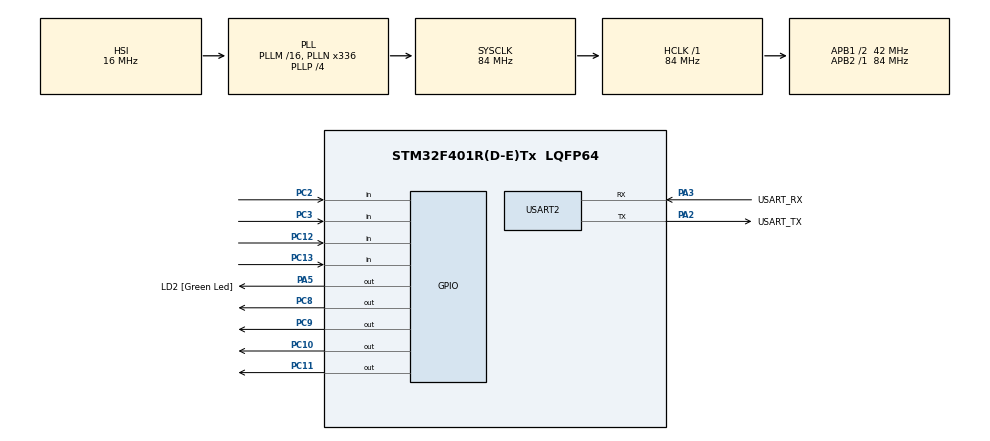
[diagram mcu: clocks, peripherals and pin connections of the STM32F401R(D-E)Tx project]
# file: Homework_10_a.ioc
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Dma.Request0=USART2_TX
Dma.USART2_TX.0.Direction=DMA_MEMORY_TO_PERIPH
Dma.USART2_TX.0.FIFOMode=DMA_FIFOMODE_DISABLE
Dma.USART2_TX.0.Instance=DMA1_Stream6
Dma.USART2_TX.0.MemDataAlignment=DMA_MDATAALIGN_BYTE
Dma.USART2_TX.0.MemInc=DMA_MINC_ENABLE
Dma.USART2_TX.0.Mode=DMA_NORMAL
Dma.USART2_TX.0.PeriphDataAlignment=DMA_PDATAALIGN_BYTE
Dma.USART2_TX.0.PeriphInc=DMA_PINC_DISABLE
Dma.USART2_TX.0.Priority=DMA_PRIORITY_LOW
Mcu.Family=STM32F4
Mcu.Name=STM32F401R(D-E)Tx
Mcu.Package=LQFP64
NVIC.DMA1_Stream6_IRQn=true\:0\:0\:false\:false\:true\:false\:true\:true
NVIC.PriorityGroup=NVIC_PRIORITYGROUP_0
NVIC.TIM3_IRQn=true\:0\:0\:false\:false\:true\:true\:true\:true
NVIC.USART2_IRQn=true\:0\:0\:false\:false\:true\:true\:true\:true
PA13.GPIO_Label=TMS
PA13.Mode=Serial_Wire
PA13.Signal=SYS_JTMS-SWDIO
PA14.GPIO_Label=TCK
PA14.Mode=Serial_Wire
PA14.Signal=SYS_JTCK-SWCLK
PA2.GPIO_Label=USART_TX
PA2.GPIO_Mode=GPIO_MODE_AF_PP
PA2.GPIO_PuPd=GPIO_NOPULL
PA2.GPIO_Speed=GPIO_SPEED_FREQ_LOW
PA2.Mode=Asynchronous
PA2.Signal=USART2_TX
PA3.GPIO_Label=USART_RX
PA3.GPIO_Mode=GPIO_MODE_AF_PP
PA3.GPIO_PuPd=GPIO_NOPULL
PA3.GPIO_Speed=GPIO_SPEED_FREQ_LOW
PA3.Mode=Asynchronous
PA3.Signal=USART2_RX
PA5.GPIO_Label=LD2 [Green Led]
PA5.GPIO_Mode=GPIO_MODE_OUTPUT_PP
PA5.GPIO_PuPd=GPIO_NOPULL
PA5.GPIO_Speed=GPIO_SPEED_FREQ_LOW
PA5.Signal=GPIO_Output
PB3.GPIO_Label=SWO
PB3.Signal=SYS_JTDO-SWO
PC10.Signal=GPIO_Output
PC11.Signal=GPIO_Output
PC12.Signal=GPIO_Input
PC13-ANTI_TAMP.Signal=GPIO_Input
PC14-OSC32_IN.Mode=LSE-External-Oscillator
PC14-OSC32_IN.Signal=RCC_OSC32_IN
PC15-OSC32_OUT.Mode=LSE-External-Oscillator
PC15-OSC32_OUT.Signal=RCC_OSC32_OUT
PC2.Signal=GPIO_Input
PC3.Signal=GPIO_Input
PC8.Signal=GPIO_Output
PC9.Signal=GPIO_Output
PH0\ -\ OSC_IN.Mode=HSE-External-Clock-Source
PH0\ -\ OSC_IN.Signal=RCC_OSC_IN
PH1\ -\ OSC_OUT.Mode=HSE-External-Clock-Source
PH1\ -\ OSC_OUT.Signal=RCC_OSC_OUT
ProjectManager.HeapSize=0x200
ProjectManager.StackSize=0x400
ProjectManager.TargetToolchain=STM32CubeIDE
RCC.48MHZClocksFreq_Value=48000000
RCC.AHBFreq_Value=84000000
RCC.APB1CLKDivider=RCC_HCLK_DIV2
RCC.APB1Freq_Value=42000000
RCC.APB1TimFreq_Value=84000000
RCC.APB2Freq_Value=84000000
RCC.APB2TimFreq_Value=84000000
RCC.CortexFreq_Value=84000000
RCC.HCLKFreq_Value=84000000
RCC.HSE_VALUE=8000000
RCC.HSI_VALUE=16000000
RCC.PLLN=336
RCC.PLLP=RCC_PLLP_DIV4
RCC.PLLQ=7
RCC.SYSCLKFreq_VALUE=84000000
RCC.SYSCLKSource=RCC_SYSCLKSOURCE_PLLCLK
RCC.VCOOutputFreq_Value=336000000
TIM3.Period=9
TIM3.Prescaler=9
TIM3.TIM_MasterOutputTrigger=TIM_TRGO_UPDATE
USART2.VirtualMode=VM_ASYNC
VP_TIM3_VS_ClockSourceINT.Mode=Internal
board=NUCLEO-F401RE

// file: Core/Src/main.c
/* USER CODE BEGIN Header */
/**
  ******************************************************************************
  * @file           : main.c
  * @brief          : Main program body
  ******************************************************************************
  * @attention
  *
  * Copyright (c) 2024 STMicroelectronics.
  * All rights reserved.
  *
  * This software is licensed under terms that can be found in the LICENSE file
  * in the root directory of this software component.
  * If no LICENSE file comes with this software, it is provided AS-IS.
  *
  ******************************************************************************
  */
/* USER CODE END Header */
#include "main.h"

/* USER CODE BEGIN PD */
#define COLUMNS_NUMBER 4
#define ROWS_NUMBER 4
#define KBOARD_DEBOUNCE_CYCLES 1 // it's 16ms per reading per each unit, one or two should be enough
#define GREEN_LED_PIN GPIOA, GPIO_PIN_5
/* USER CODE END PD */

TIM_HandleTypeDef htim3;

UART_HandleTypeDef huart2;
DMA_HandleTypeDef hdma_usart2_tx;

void SystemClock_Config(void);
static void MX_GPIO_Init(void);
static void MX_DMA_Init(void);
static void MX_USART2_UART_Init(void);
static void MX_TIM3_Init(void);

/* USER CODE BEGIN 0 */

// Columns PINS
const GPIO_TypeDef* columns_bank[COLUMNS_NUMBER] = {GPIOC, GPIOC, GPIOC, GPIOC};
const uint16_t columns_pin[COLUMNS_NUMBER] = {GPIO_PIN_9, GPIO_PIN_10, GPIO_PIN_11, GPIO_PIN_8};

// Rows PINS
const GPIO_TypeDef* rows_bank[ROWS_NUMBER] = {GPIOC, GPIOC, GPIOC, GPIOC};
const uint16_t rows_pin[ROWS_NUMBER]      = {GPIO_PIN_12, GPIO_PIN_13, GPIO_PIN_2, GPIO_PIN_3};

GPIO_PinState keyboard[COLUMNS_NUMBER * ROWS_NUMBER] = {0};
GPIO_PinState keyboard_old[COLUMNS_NUMBER * ROWS_NUMBER] = {0};
int keyboard_debounce[COLUMNS_NUMBER * ROWS_NUMBER];
static const char keymap[] = "0123456789ABCDEF";

/**
 * @brief Read keyboard key pressed and send the equivalent value to the UART terminal
 */
void KeyboardReading (void)
{
	static uint8_t col_index = 0;

	// For every rows
	for(int row_index = 0; row_index < ROWS_NUMBER; row_index++)
	{
		// If debounce period is over
		if(keyboard_debounce[row_index*COLUMNS_NUMBER+col_index] == 0)
		{
			keyboard[row_index*COLUMNS_NUMBER+col_index] = HAL_GPIO_ReadPin((GPIO_TypeDef*)rows_bank[row_index], rows_pin[row_index]);
			// Comparation between the current key pressed and the old one
			if(keyboard[row_index*COLUMNS_NUMBER+col_index] != keyboard_old[row_index*COLUMNS_NUMBER+col_index])
			{
				// Check if the old key is not pressed
				if(keyboard_old[row_index*COLUMNS_NUMBER+col_index] == GPIO_PIN_SET)
				{
					HAL_UART_Transmit(&huart2,(uint8_t*) &keymap[row_index*COLUMNS_NUMBER+col_index], 1, 10); // map[row_index*COLUMNS_NUMBER+col_index]
					keyboard_debounce[row_index*COLUMNS_NUMBER+col_index] = KBOARD_DEBOUNCE_CYCLES; // reload debounce counter
				}
				// Set the old keybord key to the pressed one
				keyboard_old[row_index*COLUMNS_NUMBER+col_index] = keyboard[row_index*COLUMNS_NUMBER+col_index];
			}
		}

		// Reset debounce
		else
		{
			keyboard_debounce[row_index*COLUMNS_NUMBER+col_index] = GPIO_PIN_RESET;
		}
	}

	// This is done to maintain consistency with the "set" and "reset" defines
	for(int i = 0; i < COLUMNS_NUMBER; i++)
	{
		HAL_GPIO_WritePin((GPIO_TypeDef*)columns_bank[i], columns_pin[i], (col_index == i) ? GPIO_PIN_SET : GPIO_PIN_RESET);
	}

	// Work as a loop for the columns because the for loop is not the best in this case
	if(col_index >= COLUMNS_NUMBER-1)
	{
		col_index = 0;
	}
	else
	{
		col_index++;
	}
}

/**
 * @brief Timer Callback of 1ms
 */
void HAL_TIM_PeriodElapsedCallback(TIM_HandleTypeDef *htim)
{
  /** 1ms Timer **/
  if (htim->Instance == htim3.Instance)
  {
	  KeyboardReading();
  }
}

/* USER CODE END 0 */

int main(void)
{

  /* MCU Configuration--------------------------------------------------------*/

  /* Reset of all peripherals, Initializes the Flash interface and the Systick. */
  HAL_Init();

  /* Configure the system clock */
  SystemClock_Config();

  /* Initialize all configured peripherals */
  MX_GPIO_Init();
  MX_DMA_Init();
  MX_USART2_UART_Init();
  MX_TIM3_Init();
  /* USER CODE BEGIN 2 */

  /** Start the Timer (4ms) **/
  HAL_TIM_Base_Start_IT(&htim3);

  /* USER CODE END 2 */

  /* Infinite loop */
  while (1)
  {

  }
}

void SystemClock_Config(void)
{
  RCC_OscInitTypeDef RCC_OscInitStruct = {0};
  RCC_ClkInitTypeDef RCC_ClkInitStruct = {0};

  /** Configure the main internal regulator output voltage
  */
  __HAL_RCC_PWR_CLK_ENABLE();
  __HAL_PWR_VOLTAGESCALING_CONFIG(PWR_REGULATOR_VOLTAGE_SCALE2);

  /** Initializes the RCC Oscillators according to the specified parameters
  * in the RCC_OscInitTypeDef structure.
  */
  RCC_OscInitStruct.OscillatorType = RCC_OSCILLATORTYPE_HSI;
  RCC_OscInitStruct.HSIState = RCC_HSI_ON;
  RCC_OscInitStruct.HSICalibrationValue = RCC_HSICALIBRATION_DEFAULT;
  RCC_OscInitStruct.PLL.PLLState = RCC_PLL_ON;
  RCC_OscInitStruct.PLL.PLLSource = RCC_PLLSOURCE_HSI;
  RCC_OscInitStruct.PLL.PLLM = 16;
  RCC_OscInitStruct.PLL.PLLN = 336;
  RCC_OscInitStruct.PLL.PLLP = RCC_PLLP_DIV4;
  RCC_OscInitStruct.PLL.PLLQ = 7;
  if (HAL_RCC_OscConfig(&RCC_OscInitStruct) != HAL_OK)
  {
    Error_Handler();
  }

  /** Initializes the CPU, AHB and APB buses clocks
  */
  RCC_ClkInitStruct.ClockType = RCC_CLOCKTYPE_HCLK|RCC_CLOCKTYPE_SYSCLK
                              |RCC_CLOCKTYPE_PCLK1|RCC_CLOCKTYPE_PCLK2;
  RCC_ClkInitStruct.SYSCLKSource = RCC_SYSCLKSOURCE_PLLCLK;
  RCC_ClkInitStruct.AHBCLKDivider = RCC_SYSCLK_DIV1;
  RCC_ClkInitStruct.APB1CLKDivider = RCC_HCLK_DIV2;
  RCC_ClkInitStruct.APB2CLKDivider = RCC_HCLK_DIV1;

  if (HAL_RCC_ClockConfig(&RCC_ClkInitStruct, FLASH_LATENCY_2) != HAL_OK)
  {
    Error_Handler();
  }
}

static void MX_TIM3_Init(void)
{

  TIM_ClockConfigTypeDef sClockSourceConfig = {0};
  TIM_MasterConfigTypeDef sMasterConfig = {0};

  htim3.Instance = TIM3;
  htim3.Init.Prescaler = 8399;
  htim3.Init.CounterMode = TIM_COUNTERMODE_UP;
  htim3.Init.Period = 9;
  htim3.Init.ClockDivision = TIM_CLOCKDIVISION_DIV1;
  htim3.Init.AutoReloadPreload = TIM_AUTORELOAD_PRELOAD_DISABLE;
  if (HAL_TIM_Base_Init(&htim3) != HAL_OK)
  {
    Error_Handler();
  }
  sClockSourceConfig.ClockSource = TIM_CLOCKSOURCE_INTERNAL;
  if (HAL_TIM_ConfigClockSource(&htim3, &sClockSourceConfig) != HAL_OK)
  {
    Error_Handler();
  }
  sMasterConfig.MasterOutputTrigger = TIM_TRGO_UPDATE;
  sMasterConfig.MasterSlaveMode = TIM_MASTERSLAVEMODE_DISABLE;
  if (HAL_TIMEx_MasterConfigSynchronization(&htim3, &sMasterConfig) != HAL_OK)
  {
    Error_Handler();
  }

}

static void MX_USART2_UART_Init(void)
{

  huart2.Instance = USART2;
  huart2.Init.BaudRate = 115200;
  huart2.Init.WordLength = UART_WORDLENGTH_8B;
  huart2.Init.StopBits = UART_STOPBITS_1;
  huart2.Init.Parity = UART_PARITY_NONE;
  huart2.Init.Mode = UART_MODE_TX_RX;
  huart2.Init.HwFlowCtl = UART_HWCONTROL_NONE;
  huart2.Init.OverSampling = UART_OVERSAMPLING_16;
  if (HAL_UART_Init(&huart2) != HAL_OK)
  {
    Error_Handler();
  }

}

static void MX_DMA_Init(void)
{

  /* DMA controller clock enable */
  __HAL_RCC_DMA1_CLK_ENABLE();

  /* DMA interrupt init */
  /* DMA1_Stream6_IRQn interrupt configuration */
  HAL_NVIC_SetPriority(DMA1_Stream6_IRQn, 0, 0);
  HAL_NVIC_EnableIRQ(DMA1_Stream6_IRQn);

}

static void MX_GPIO_Init(void)
{
  GPIO_InitTypeDef GPIO_InitStruct = {0};

  /* GPIO Ports Clock Enable */
  __HAL_RCC_GPIOC_CLK_ENABLE();
  __HAL_RCC_GPIOH_CLK_ENABLE();
  __HAL_RCC_GPIOA_CLK_ENABLE();
  __HAL_RCC_GPIOB_CLK_ENABLE();

  /*Configure GPIO pin Output Level */
  HAL_GPIO_WritePin(LD2_GPIO_Port, LD2_Pin, GPIO_PIN_RESET);

  /*Configure GPIO pin Output Level */
  HAL_GPIO_WritePin(GPIOC, GPIO_PIN_8|GPIO_PIN_9|GPIO_PIN_10|GPIO_PIN_11, GPIO_PIN_RESET);

  /*Configure GPIO pins : PC13 PC2 PC3 PC12 */
  GPIO_InitStruct.Pin = GPIO_PIN_13|GPIO_PIN_2|GPIO_PIN_3|GPIO_PIN_12;
  GPIO_InitStruct.Mode = GPIO_MODE_INPUT;
  GPIO_InitStruct.Pull = GPIO_NOPULL;
  HAL_GPIO_Init(GPIOC, &GPIO_InitStruct);

  /*Configure GPIO pin : LD2_Pin */
  GPIO_InitStruct.Pin = LD2_Pin;
  GPIO_InitStruct.Mode = GPIO_MODE_OUTPUT_PP;
  GPIO_InitStruct.Pull = GPIO_NOPULL;
  GPIO_InitStruct.Speed = GPIO_SPEED_FREQ_LOW;
  HAL_GPIO_Init(LD2_GPIO_Port, &GPIO_InitStruct);

  /*Configure GPIO pins : PC8 PC9 PC10 PC11 */
  GPIO_InitStruct.Pin = GPIO_PIN_8|GPIO_PIN_9|GPIO_PIN_10|GPIO_PIN_11;
  GPIO_InitStruct.Mode = GPIO_MODE_OUTPUT_PP;
  GPIO_InitStruct.Pull = GPIO_NOPULL;
  GPIO_InitStruct.Speed = GPIO_SPEED_FREQ_LOW;
  HAL_GPIO_Init(GPIOC, &GPIO_InitStruct);

}

void Error_Handler(void)
{
  __disable_irq();
  while (1)
  {
  }
}
